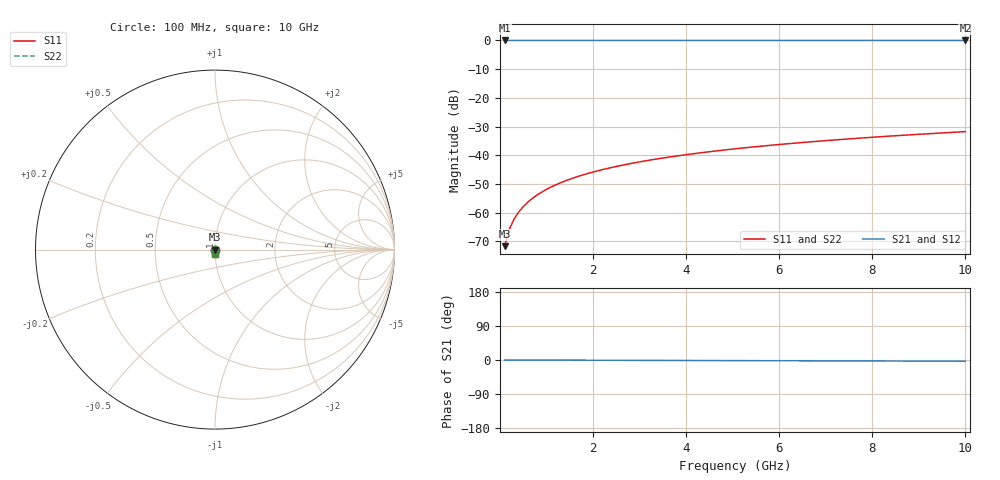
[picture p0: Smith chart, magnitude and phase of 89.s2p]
# Hz S RI R 50.00
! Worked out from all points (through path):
!   100 points, 100 MHz to 10 GHz, reference 50 ohm
!   highest |S21| = 0.00 dB at 100 MHz (marker M1); lowest = 0.0 dB at 10 GHz (marker M2)
!   lowest |S11| = -71.6 dB at 100 MHz (marker M3), VSWR 1.00, Z = 50 - j0.0255 ohm
!   |S11| at or under -10 dB: start of sweep to end of sweep
!   |S22| runs from -71.6 to -31.8 dB; largest |S21 - S12| = 0
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1e8  5.91e-05 -0.000255  0.9999 -0.000557  0.9999 -0.000557  5.91e-05 -0.000255
2e8  5.87e-05 -0.000511  0.9999 -0.00111  0.9999 -0.00111  5.87e-05 -0.000511
3e8  5.79e-05 -0.000766  0.9999 -0.00167  0.9999 -0.00167  5.79e-05 -0.000766
4e8  5.68e-05 -0.00102  0.9999 -0.00223  0.9999 -0.00223  5.68e-05 -0.00102
5e8  5.53e-05 -0.00128  0.9999 -0.00279  0.9999 -0.00279  5.53e-05 -0.00128
6e8  5.35e-05 -0.00153  0.9999 -0.00335  0.9999 -0.00335  5.35e-05 -0.00153
7e8  5.15e-05 -0.00179  0.9999 -0.0039  0.9999 -0.0039  5.15e-05 -0.00179
8e8  4.91e-05 -0.00204  0.9999 -0.00446  0.9999 -0.00446  4.91e-05 -0.00204
9e8  4.64e-05 -0.0023  0.9999 -0.00502  0.9999 -0.00502  4.64e-05 -0.0023
1.1e9  4.02e-05 -0.00281  0.9999 -0.00614  0.9999 -0.00614  4.02e-05 -0.00281
1.4e9  2.87e-05 -0.00358  0.9999 -0.00781  0.9999 -0.00781  2.87e-05 -0.00358
1.8e9  9.29e-06 -0.0046  0.9999 -0.01  0.9999 -0.01  9.29e-06 -0.0046
2.1e9  -8.31e-06 -0.00537  0.9998 -0.0117  0.9998 -0.0117  -8.31e-06 -0.00537
2.5e9  -3.59e-05 -0.0064  0.9998 -0.014  0.9998 -0.014  -3.59e-05 -0.0064
2.9e9  -6.8e-05 -0.00743  0.9998 -0.0162  0.9998 -0.0162  -6.8e-05 -0.00743
3.4e9  -0.000115 -0.00871  0.9997 -0.019  0.9997 -0.019  -0.000115 -0.00871
4.2e9  -0.000205 -0.0108  0.9996 -0.0235  0.9996 -0.0235  -0.000205 -0.0108
5.1e9  -0.000329 -0.0131  0.9994 -0.0286  0.9994 -0.0286  -0.000329 -0.0131
5.9e9  -0.000459 -0.0152  0.9992 -0.0331  0.9992 -0.0331  -0.000459 -0.0152
6.7e9  -0.000608 -0.0172  0.999 -0.0376  0.999 -0.0376  -0.000608 -0.0172
8.4e9  -0.000989 -0.0217  0.9985 -0.0472  0.9985 -0.0472  -0.000989 -0.0217
1e10  -0.00143 -0.0258  0.998 -0.0563  0.998 -0.0563  -0.00143 -0.0258
